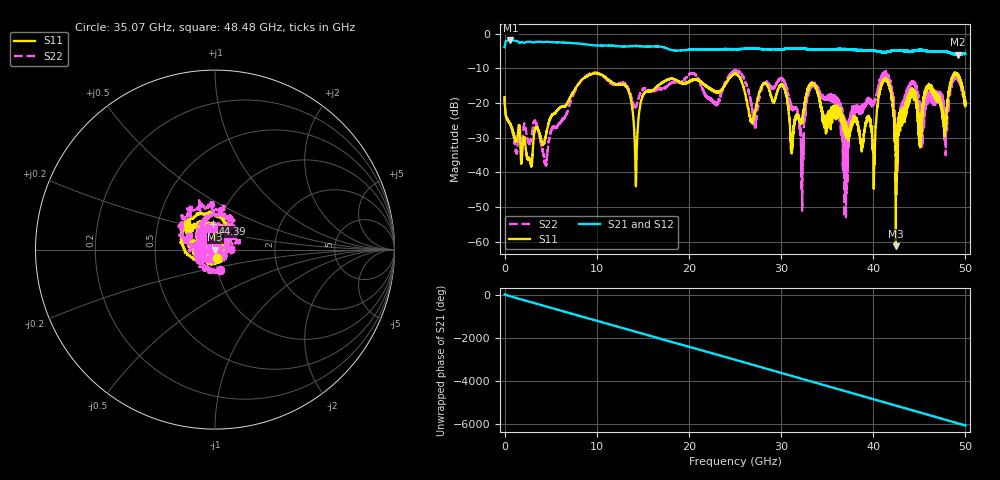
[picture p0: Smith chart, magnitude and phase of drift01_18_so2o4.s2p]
!Created with skrf (http://scikit-rf.org).
# Hz S RI R 50.0
!freq ReS11 ImS11 ReS21 ImS21 ReS12 ImS12 ReS22 ImS22
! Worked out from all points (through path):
!   10001 points, 300 kHz to 50 GHz, reference 50 ohm
!   highest |S21| = -2.00 dB at 625.3 MHz (marker M1); lowest = -6.1 dB at 49.2 GHz (marker M2)
!   group delay of S21, straight-line fit = 336 ps
!   lowest |S11| = -61.2 dB at 42.46 GHz (marker M3), VSWR 1.00, Z = 50.1 - j0.028 ohm
!   |S11| at or under -10 dB: start of sweep to end of sweep
!   |S22| runs from -53.3 to -10.5 dB; largest |S21 - S12| = 0.018
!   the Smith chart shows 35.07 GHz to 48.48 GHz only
!   S11 on the Smith chart (normalised r, x): 35.07 GHz: 1.02, -0.10; 44.39 GHz: 0.94, +0.27; 48.48 GHz: 0.70, +0.21
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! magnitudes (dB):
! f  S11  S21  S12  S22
! 300 kHz  -18.3  -4.0  -4.0  -18.0
! 625.3 MHz  -26.1  -2.0  -2.0  -26.1
! 4.435 GHz  -29.9  -2.4  -2.4  -37.1
! 8.335 GHz  -13.5  -3.0  -3.0  -13.5
! 13.17 GHz  -15.1  -3.7  -3.7  -14.7
! 14.25 GHz  -43.7  -3.6  -3.6  -21.0
! 16.67 GHz  -14.9  -3.7  -3.7  -15.9
! 25 GHz  -11.6  -4.5  -4.6  -10.9
! 27.15 GHz  -22.5  -4.3  -4.3  -26.1
! 30.2 GHz  -15.1  -4.5  -4.5  -13.4
! 32.23 GHz  -25.0  -4.3  -4.3  -35.3
! 33.34 GHz  -14.4  -4.6  -4.6  -14.7
! 35.07 GHz  -26.2  -4.6  -4.6  -18.8
! 37.03 GHz  -26.9  -4.6  -4.6  -36.3
! 40.06 GHz  -42.7  -4.9  -5.0  -20.4
! 41.67 GHz  -14.4  -5.1  -5.1  -12.1
! 42.46 GHz  -61.2  -4.8  -4.8  -33.1
! 44.39 GHz  -16.8  -5.0  -5.0  -14.0
! 45.31 GHz  -22.3  -4.7  -4.8  -25.9
! 48.48 GHz  -13.5  -5.7  -5.7  -15.7
! 49.2 GHz  -12.4  -6.1  -6.0  -12.5
! 50 GHz  -20.5  -5.9  -5.8  -19.6
